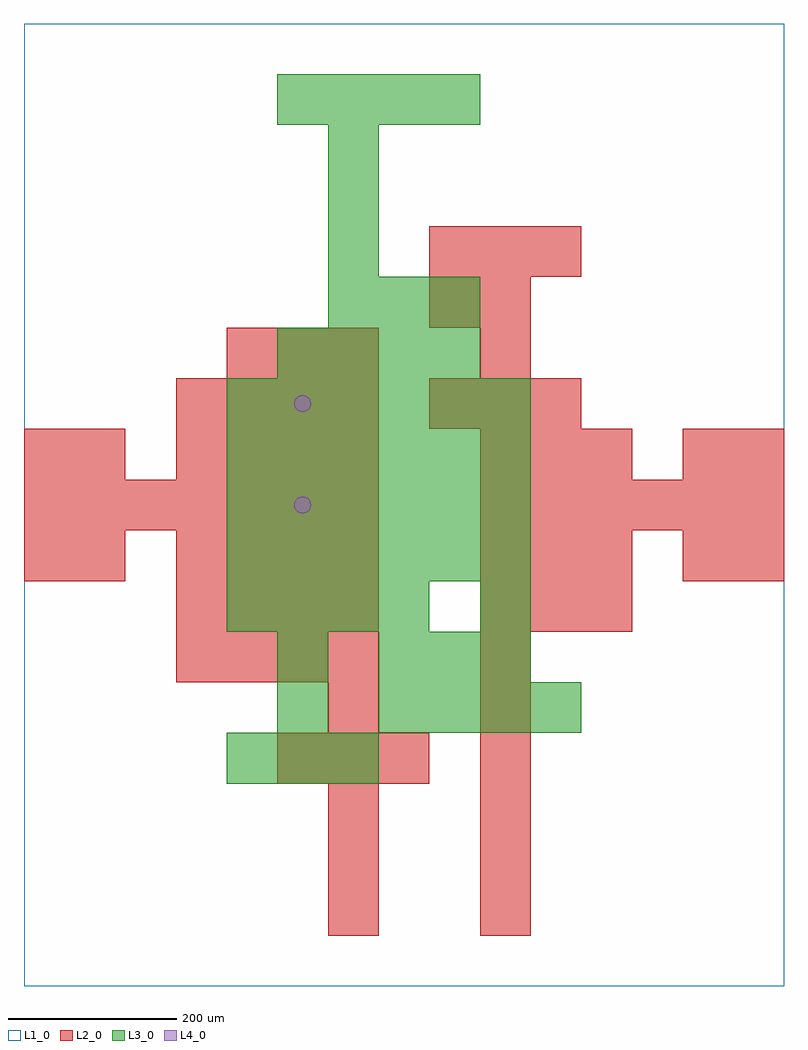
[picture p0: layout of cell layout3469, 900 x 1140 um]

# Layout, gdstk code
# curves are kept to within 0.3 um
import gdstk
lib = gdstk.Library(unit=1e-6, precision=1e-09)
def R(c, l, rs):  # rectangles x0, y0, x1, y1
    for r in rs: c.add(gdstk.rectangle(r[:2], r[2:], *l))
def A(c, l, x, y, w, h, nx, ny, dx, dy):  # array of equal rectangles
    R(c, l, [(x+i*dx, y+j*dy, x+i*dx+w, y+j*dy+h) for i in range(nx) for j in range(ny)])
def P(c, l, *ps):  # polygons
    for p in ps: c.add(gdstk.Polygon(p, *l))
L1_0 = (1, 0)
L2_0 = (2, 0)
L3_0 = (3, 0)
L4_0 = (4, 0)

layout3469 = lib.new_cell('layout3469')
R(layout3469, L1_0, [(0,0,900,1140)])
A(layout3469, L2_0, 360, 60, 60, 60, 1, 3, 0, 60)
A(layout3469, L2_0, 540, 60, 60, 60, 1, 6, 0, 60)
A(layout3469, L2_0, 300, 240, 60, 60, 3, 1, 60, 0)
A(layout3469, L2_0, 180, 360, 60, 60, 4, 3, 60, 60)
A(layout3469, L2_0, 540, 420, 60, 60, 3, 2, 60, 60)
A(layout3469, L2_0, 0, 540, 60, 60, 7, 1, 60, 0)
A(layout3469, L2_0, 540, 540, 60, 60, 6, 1, 60, 0)
A(layout3469, L2_0, 180, 600, 60, 60, 4, 2, 60, 60)
A(layout3469, L2_0, 540, 600, 60, 60, 3, 1, 60, 0)
A(layout3469, L2_0, 480, 660, 60, 60, 3, 2, 60, 180)
A(layout3469, L2_0, 240, 720, 60, 60, 3, 1, 60, 0)
R(layout3469, L2_0, [(360,300,420,360), (0,480,60,540), (60,480,120,540), (780,480,840,540), (840,480,900,540), (0,600,60,660), (60,600,120,660), (780,600,840,660), (840,600,900,660), (540,720,600,780), (480,780,540,840), (540,780,600,840)])
A(layout3469, L3_0, 240, 240, 60, 60, 3, 1, 60, 0)
A(layout3469, L3_0, 420, 300, 60, 60, 4, 1, 60, 0)
A(layout3469, L3_0, 420, 360, 60, 60, 3, 1, 60, 0)
A(layout3469, L3_0, 240, 420, 60, 60, 4, 1, 60, 0)
A(layout3469, L3_0, 240, 480, 60, 60, 6, 4, 60, 60)
A(layout3469, L3_0, 300, 720, 60, 60, 4, 2, 60, 300)
A(layout3469, L3_0, 360, 780, 60, 60, 3, 1, 60, 0)
A(layout3469, L3_0, 360, 840, 60, 60, 1, 3, 0, 60)
R(layout3469, L3_0, [(300,300,360,360), (300,360,360,420), (540,420,600,480)])
P(layout3469, L4_0, [(340,570),(339.239,573.827),(337.071,577.071),(333.827,579.239),(330,580),(326.173,579.239),(322.929,577.071),(320.761,573.827),(320,570),(320.761,566.173),(322.929,562.929),(326.173,560.761),(330,560),(333.827,560.761),(337.071,562.929),(339.239,566.173)],
  [(340,690),(339.239,693.827),(337.071,697.071),(333.827,699.239),(330,700),(326.173,699.239),(322.929,697.071),(320.761,693.827),(320,690),(320.761,686.173),(322.929,682.929),(326.173,680.761),(330,680),(333.827,680.761),(337.071,682.929),(339.239,686.173)])

lib.write_gds('layout3469.gds')
